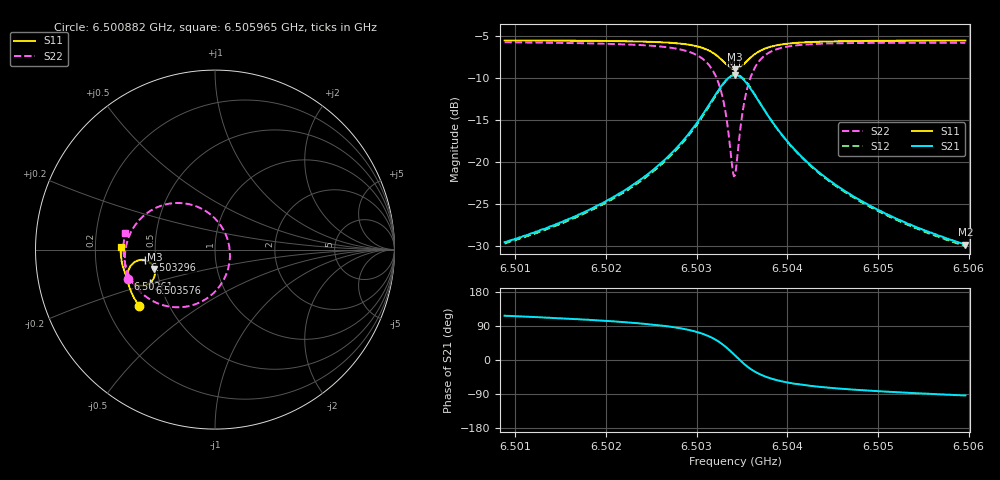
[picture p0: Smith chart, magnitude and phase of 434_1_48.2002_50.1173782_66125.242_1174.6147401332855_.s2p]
#  HZ  S  RI  R  50.00
! Rohde & Schwarz Vector Network Analyzer
! Rohde-Schwarz,ZNB20-2Port,1311601062101988,3.16
! Created: UTC 3/20/2024, 11:55:33 AM
! freq[Hz]  re:S11  im:S11  re:S21  im:S21  re:S12  im:S12  re:S22  im:S22
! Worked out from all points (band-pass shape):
!   401 points, 6.500882 GHz to 6.505965 GHz, reference 50 ohm
!   highest |S21| = -9.69 dB at 6.503423 GHz (marker M1); lowest = -29.9 dB at 6.505965 GHz (marker M2)
!   |S21| within 3 dB of the highest: 6.50317 GHz to 6.503678 GHz (508.2 kHz wide, 0.00781 % of centre)
!   lowest |S11| = -9.0 dB at 6.503423 GHz (marker M3), VSWR 2.10, Z = 24.3 - j5.96 ohm
!   |S11| at or under -10 dB: nowhere
!   |S22| runs from -21.7 to -5.8 dB; largest |S21 - S12| = 0.012
!   S11 on the Smith chart (normalised r, x): 6.500882 GHz: 0.34, -0.29; 6.50261 GHz: 0.33, -0.15; 6.503296 GHz: 0.44, -0.06; 6.503576 GHz: 0.44, -0.20; 6.505965 GHz: 0.31, +0.01
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6.5008818e9  -0.4234 -0.3128  -0.015 0.0296  -0.0132 0.0298  -0.4874 -0.1612
6.5017332e9  -0.4604 -0.2504  -0.0145 0.0471  -0.0119 0.0468  -0.5019 -0.0717
6.5022034e9  -0.4772 -0.2091  -0.0116 0.0665  -0.00848 0.0654  -0.4994 -0.00582
6.5025847e9  -0.4864 -0.1674  -0.00272 0.0955  0.0009 0.0933  -0.4807 0.0693
6.5026101e9  -0.4867 -0.1642  -0.00163 0.0982  0.00223 0.096  -0.4782 0.0755
6.5029024e9  -0.4832 -0.1196  0.0253 0.142  0.0291 0.1375  -0.4225 0.1642
6.503093e9  -0.4622 -0.0816  0.0787 0.1838  0.0814 0.1777  -0.3202 0.2368
6.5032074e9  -0.4301 -0.0608  0.1473 0.2017  0.1482 0.1952  -0.1969 0.2597
6.5032964e9  -0.3898 -0.0588  0.2264 0.1859  0.2266 0.1806  -0.0606 0.2203
6.5033345e9  -0.3707 -0.0663  0.2625 0.163  0.2634 0.1583  -0.000865 0.1739
6.503398e9  -0.344 -0.0928  0.3103 0.0996  0.3129 0.0945  0.0715 0.0521
6.5034234e9  -0.3375 -0.1074  0.3205 0.0675  0.3238 0.0615  0.0825 -0.00786
6.5034489e9  -0.3346 -0.1229  0.3243 0.0341  0.3278 0.0269  0.0808 -0.0689
6.5035124e9  -0.3415 -0.16  0.3065 -0.0437  0.3086 -0.0538  0.0261 -0.2037
6.5035759e9  -0.3626 -0.186  0.2639 -0.0978  0.2629 -0.1091  -0.0698 -0.2867
6.5036776e9  -0.4021 -0.2011  0.1895 -0.1339  0.1842 -0.1436  -0.2193 -0.3212
6.5038428e9  -0.4481 -0.1916  0.1082 -0.1311  0.1011 -0.1363  -0.3659 -0.275
6.5040207e9  -0.4754 -0.1703  0.0639 -0.1112  0.0575 -0.1135  -0.4379 -0.2106
6.5042749e9  -0.4961 -0.1402  0.034 -0.087  0.0291 -0.0877  -0.4812 -0.1387
6.5046816e9  -0.5123 -0.0983  0.0142 -0.0629  0.0109 -0.0626  -0.5044 -0.0599
6.5051263e9  -0.521 -0.0573  0.00513 -0.0477  0.00278 -0.0469  -0.5098 0.00167
6.5059651e9  -0.5258 0.0135  -0.00194 -0.0319  -0.0034 -0.0312  -0.5022 0.0897
